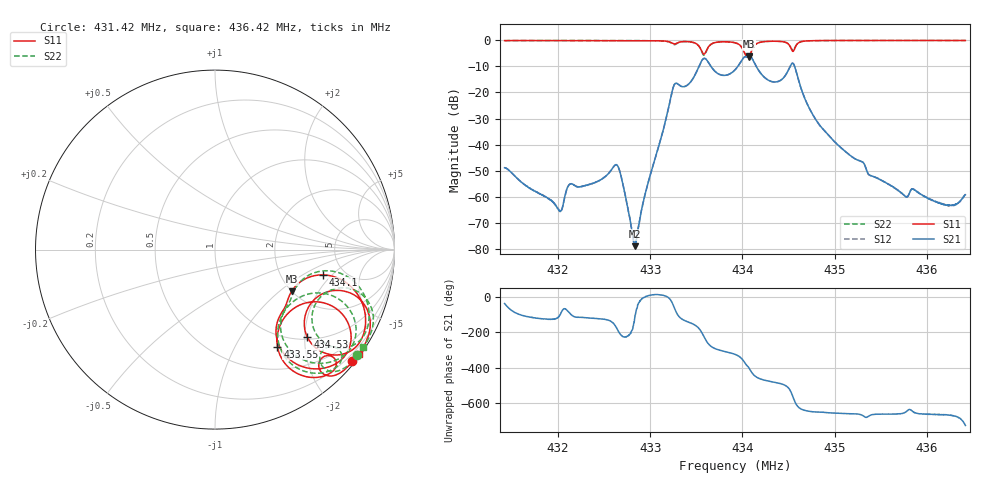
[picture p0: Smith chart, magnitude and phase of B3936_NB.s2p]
! Matrix data file written by TouchstoneData, EPCOS AG
! FILENAME: "B3936_NB.s2p"
! COMMENT: "(LY28A_NB.s2p) EPCOS AG 11.11.10 09:56:26"
! INFO: nport=2, nfreq=1601
! DATE: "Tue Apr 19 08:50:38 2011"
! USER: "Wilfried Schott"
! port | pin | signal
!  1  |  1  |  in
!  2  |  4  |  out
# MHZ S MA R 50
! freq  magS11 angS11  magS21 angS21  magS12 angS12  magS22 angS22
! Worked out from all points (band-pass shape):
!   1601 points, 431.42 MHz to 436.42 MHz, reference 50 ohm
!   highest |S21| = -6.02 dB at 434.08 MHz (marker M1); lowest = -78.9 dB at 432.84 MHz (marker M2)
!   |S21| within 3 dB of the highest: 433.5414 MHz to 433.6407 MHz (99.32 kHz wide, 0.0229 % of centre); 433.9699 MHz to 434.1354 MHz (165.5 kHz wide, 0.0381 % of centre) (the widest 2 of 3)
!   lowest |S11| = -6.3 dB at 434.07 MHz (marker M3), VSWR 2.89, Z = 99.8 - j60.8 ohm
!   |S11| at or under -10 dB: nowhere
!   |S22| runs from -6.1 to -0.1 dB; largest |S21 - S12| = 0.0022
!   S11 on the Smith chart (normalised r, x): 431.42 MHz: 0.08, -2.81; 433.55 MHz: 0.82, -1.51; 434.1 MHz: 3.48, -1.59; 434.53 MHz: 1.04, -2.06; 436.42 MHz: 0.06, -3.07
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431.42  0.9821 -39.1  0.003627 -39.5  0.003635 -39.8  0.9831 -36.5
432.0169  0.9883 -40.1  0.0005406 -106.6  0.0005361 -108.1  0.9885 -37.5
432.12  0.987 -40.2  0.001712 -90.1  0.001714 -90.0  0.9868 -37.7
432.2544  0.9877 -40.5  0.001594 -117.5  0.001571 -117.4  0.9882 -37.9
432.6419  0.9834 -41.6  0.004026 176.9  0.004033 176.7  0.9833 -39.2
432.8356  0.9846 -42.5  0.0001141 -107.2  0.0001273 -105.9  0.9847 -40.0
433.0888  0.9762 -45.1  0.008916 10.8  0.008902 10.9  0.975 -43.0
433.2606  0.8484 -45.8  0.1407 -61.9  0.1406 -61.8  0.8216 -43.3
433.4169  0.937 -48.1  0.1449 -144.4  0.1447 -144.3  0.9362 -45.4
433.5544  0.6424 -57.2  0.3939 161.8  0.3936 161.9  0.6268 -55.6
433.6794  0.875 -30.6  0.282 73.2  0.2818 73.2  0.8716 -26.8
433.92  0.8954 -47.6  0.271 34.7  0.271 34.8  0.8961 -44.4
434.07  0.486 -28.6  0.4962 -40.7  0.4961 -40.4  0.4979 -25.0
434.0763  0.4954 -23.5  0.5001 -45.7  0.5008 -45.6  0.5084 -20.5
434.0981  0.6194 -13.1  0.4685 -64.4  0.4688 -64.5  0.626 -10.8
434.3294  0.9573 -32.0  0.16 -120.2  0.1599 -120.1  0.9576 -29.0
434.5263  0.7103 -43.5  0.3377 -175.8  0.338 -175.6  0.7254 -39.6
434.5763  0.7521 -17.8  0.2819 121.0  0.2805 120.6  0.765 -16.2
434.7544  0.9796 -29.1  0.0403 72.1  0.04026 72.2  0.9805 -26.7
435.5888  0.9901 -34.8  0.001741 58.6  0.001728 58.9  0.9903 -32.2
436.2262  0.9905 -35.8  0.0007032 53.9  0.0006842 54.3  0.9904 -33.2
436.42  0.9893 -36.1  0.001103 -5.3  0.001114 -5.8  0.9893 -33.4
